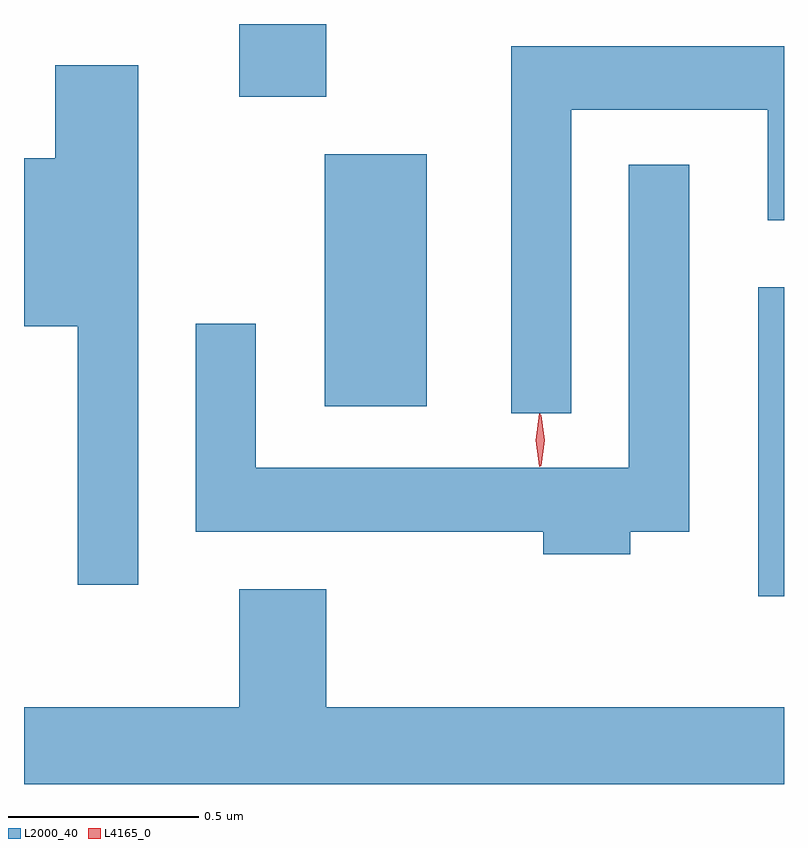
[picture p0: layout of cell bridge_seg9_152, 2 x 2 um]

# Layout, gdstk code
import gdstk
lib = gdstk.Library(unit=1e-6, precision=1e-09)
def R(c, l, rs):  # rectangles x0, y0, x1, y1
    for r in rs: c.add(gdstk.rectangle(r[:2], r[2:], *l))
def P(c, l, *ps):  # polygons
    for p in ps: c.add(gdstk.Polygon(p, *l))
L2000_40 = (2000, 40)
L4165_0 = (4165, 0)

bridge_seg9_152 = lib.new_cell('bridge_seg9_152')
R(bridge_seg9_152, L2000_40, [(1409.286,2067.856,1409.354,2068.669), (1408.146,2068.356,1408.414,2069.019), (1407.921,2069.171,1408.149,2069.362)])
P(bridge_seg9_152, L2000_40, [(1408.794,2069.136),(1409.311,2069.136),(1409.311,2068.846),(1409.354,2068.846),(1409.354,2069.304),(1408.636,2069.304),(1408.636,2068.338),(1408.794,2068.338)],
  [(1407.654,2069.254),(1407.436,2069.254),(1407.436,2069.009),(1407.354,2069.009),(1407.354,2068.566),(1407.496,2068.566),(1407.496,2067.887),(1407.654,2067.887)],
  [(1408.949,2068.026),(1409.104,2068.026),(1409.104,2068.992),(1408.946,2068.992),(1408.946,2068.194),(1407.964,2068.194),(1407.964,2068.573),(1407.806,2068.573),(1407.806,2068.026),(1408.721,2068.026),(1408.721,2067.966),(1408.949,2067.966)],
  [(1409.354,2067.564),(1408.149,2067.564),(1408.149,2067.874),(1407.921,2067.874),(1407.921,2067.564),(1407.354,2067.564),(1407.354,2067.362),(1409.354,2067.362)])
P(bridge_seg9_152, L4165_0, [(1408.711,2068.197),(1408.71,2068.198),(1408.701,2068.267),(1408.71,2068.336),(1408.711,2068.336),(1408.712,2068.336),(1408.721,2068.267),(1408.712,2068.198)],
  [(1408.715,2068.199),(1408.714,2068.2),(1408.705,2068.266),(1408.714,2068.332),(1408.715,2068.333),(1408.715,2068.332),(1408.725,2068.266),(1408.715,2068.2)])

lib.write_gds('bridge_seg9_152.gds')
